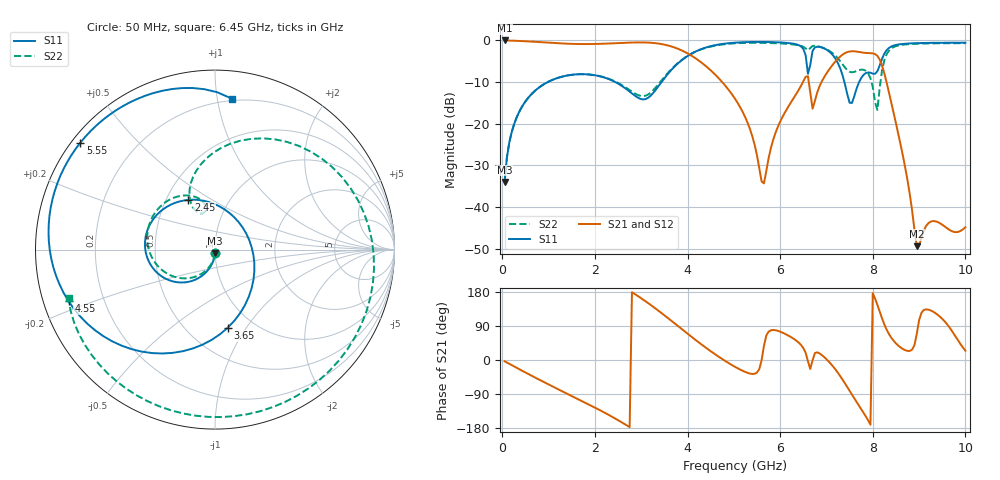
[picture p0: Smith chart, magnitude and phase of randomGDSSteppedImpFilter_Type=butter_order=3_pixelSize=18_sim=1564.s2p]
! freq	dB(S11)	phase(S11)	dB(S12)	phase(S12)
!  dB(S21)	phase(S21)	dB(S22)	phase(S22)
!S-par simulation data
#  GHz  S  DB  R 50
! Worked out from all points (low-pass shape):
!   200 points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, 50 MHz to 10 GHz, reference 50 ohm
!   highest |S21| = -0.02 dB at 50 MHz (marker M1); lowest = -49.4 dB at 8.95 GHz (marker M2)
!   |S21| within 3 dB of the highest: start of sweep to 3.984 GHz; 7.408 GHz to 7.858 GHz (450.2 MHz wide, 5.9 % of centre)
!   lowest |S11| = -34.0 dB at 50 MHz (marker M3), VSWR 1.04, Z = 50 - j2 ohm
!   |S11| at or under -10 dB: start of sweep to 982 MHz; 2.44 GHz to 3.438 GHz (997.9 MHz wide, 34 % of centre); 7.387 GHz to 7.705 GHz (318.3 MHz wide, 4.22 % of centre)
!   |S22| runs from -34.0 to -0.6 dB; largest |S21 - S12| = 0
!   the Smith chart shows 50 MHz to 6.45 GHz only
!   S11 on the Smith chart (normalised r, x): 50 MHz: 1.00, -0.04; 2.45 GHz: 0.65, +0.40; 3.65 GHz: 0.76, -0.83; 4.55 GHz: 0.07, -0.17; 5.55 GHz: 0.02, +0.35; 6.45 GHz: 0.19, +1.10
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0.05  -34.00 -89.1  -0.02 -3.4  -0.02 -3.4  -34.00 -89.7
0.2  -22.16 -101.3  -0.06 -13.4  -0.06 -13.4  -22.19 -103.3
0.5  -14.64 -120.4  -0.21 -33.0  -0.21 -33.0  -14.67 -125.6
1.75  -8.12 167.4  -0.88 -110.0  -0.88 -110.0  -8.11 151.9
2.45  -10.06 118.2  -0.68 -155.3  -0.68 -155.3  -9.93 111.7
3.4  -10.57 -46.4  -0.81 127.5  -0.81 127.5  -10.13 116.6
3.65  -7.10 -80.8  -1.45 103.6  -1.45 103.6  -6.92 103.4
4.1  -3.09 -125.8  -3.77 59.9  -3.77 59.9  -3.11 61.5
4.55  -1.26 -160.6  -7.71 19.0  -7.71 19.0  -1.36 13.8
5.05  -0.52 168.3  -14.44 -19.7  -14.44 -19.7  -0.69 -36.9
5.55  -0.37 141.5  -30.70 -24.0  -30.70 -24.0  -0.59 -83.4
5.65  -0.38 136.3  -34.32 37.4  -34.32 37.4  -0.60 -92.2
6.45  -1.45 83.7  -10.91 39.9  -10.91 39.9  -1.32 -161.6
6.6  -8.04 70.8  -8.60 -3.3  -8.60 -3.3  -2.37 -170.5
6.7  -2.52 103.5  -16.40 -1.0  -16.40 -1.0  -1.35 -176.0
7.15  -3.71 34.3  -5.64 -18.2  -5.64 -18.2  -3.24 135.8
7.55  -15.02 -123.7  -2.61 -91.3  -2.61 -91.3  -7.66 121.3
8.05  -8.03 132.0  -3.28 161.9  -3.28 161.9  -14.86 18.4
8.2  -4.42 138.2  -6.04 109.9  -6.04 109.9  -7.21 -147.4
8.35  -1.81 119.5  -12.50 68.4  -12.50 68.4  -2.47 159.8
8.95  -0.67 73.2  -49.40 68.9  -49.40 68.9  -0.81 82.1
10  -0.57 27.3  -44.86 24.6  -44.86 24.6  -0.67 13.9
